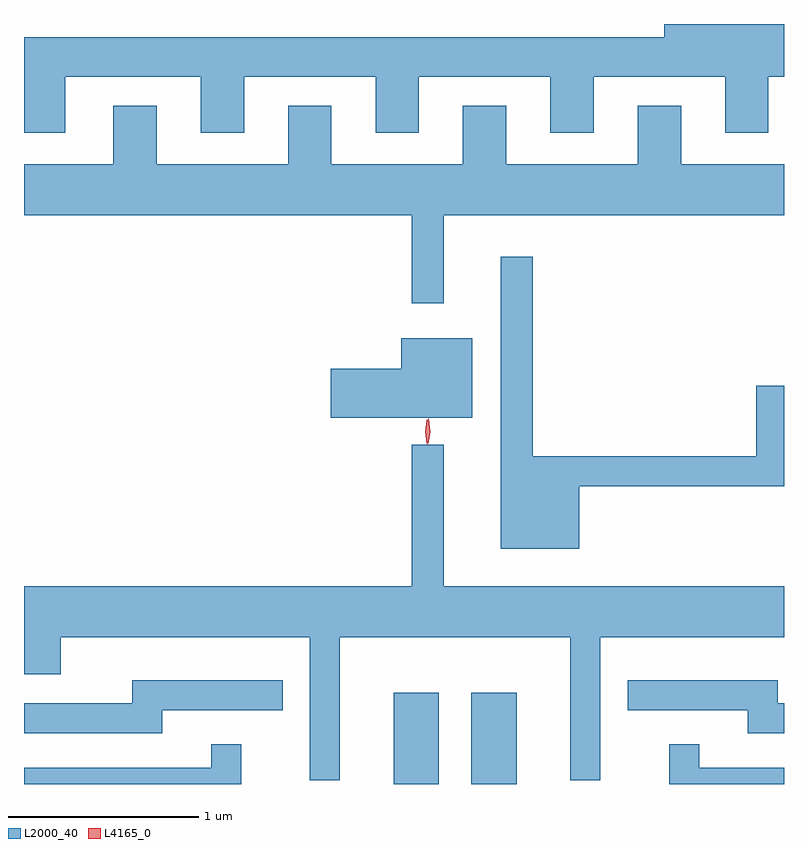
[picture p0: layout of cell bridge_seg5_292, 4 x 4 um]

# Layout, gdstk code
import gdstk
lib = gdstk.Library(unit=1e-6, precision=1e-09)
def R(c, l, rs):  # rectangles x0, y0, x1, y1
    for r in rs: c.add(gdstk.rectangle(r[:2], r[2:], *l))
def P(c, l, *ps):  # polygons
    for p in ps: c.add(gdstk.Polygon(p, *l))
L2000_40 = (2000, 40)
L4165_0 = (4165, 0)

bridge_seg5_292 = lib.new_cell('bridge_seg5_292')
R(bridge_seg5_292, L2000_40, [(671.836,1518.183,672.074,1518.664), (672.246,1518.183,672.484,1518.664)])
P(bridge_seg5_292, L2000_40, [(670.109,1521.906),(670.821,1521.906),(670.821,1521.611),(671.049,1521.611),(671.049,1521.906),(671.741,1521.906),(671.741,1521.611),(671.969,1521.611),(671.969,1521.906),(672.661,1521.906),(672.661,1521.611),(672.889,1521.611),(672.889,1521.906),(673.581,1521.906),(673.581,1521.611),(673.809,1521.611),(673.809,1521.906),(673.891,1521.906),(673.891,1522.183),(673.261,1522.183),(673.261,1522.114),(669.891,1522.114),(669.891,1521.611),(670.109,1521.611)],
  [(672.099,1521.176),(673.891,1521.176),(673.891,1521.444),(673.349,1521.444),(673.349,1521.754),(673.121,1521.754),(673.121,1521.444),(672.429,1521.444),(672.429,1521.754),(672.201,1521.754),(672.201,1521.444),(671.509,1521.444),(671.509,1521.754),(671.281,1521.754),(671.281,1521.444),(670.589,1521.444),(670.589,1521.754),(670.361,1521.754),(670.361,1521.444),(669.891,1521.444),(669.891,1521.176),(671.931,1521.176),(671.931,1520.713),(672.099,1520.713)],
  [(672.814,1519.751),(673.891,1519.751),(673.891,1520.279),(673.746,1520.279),(673.746,1519.909),(672.569,1519.909),(672.569,1520.958),(672.401,1520.958),(672.401,1519.421),(672.814,1519.421)],
  [(672.249,1520.529),(671.876,1520.529),(671.876,1520.369),(671.506,1520.369),(671.506,1520.111),(672.249,1520.111)],
  [(671.554,1518.956),(672.766,1518.956),(672.766,1518.203),(672.924,1518.203),(672.924,1518.956),(673.891,1518.956),(673.891,1519.224),(672.099,1519.224),(672.099,1519.968),(671.931,1519.968),(671.931,1519.224),(669.891,1519.224),(669.891,1518.761),(670.084,1518.761),(670.084,1518.956),(671.396,1518.956),(671.396,1518.203),(671.554,1518.203)],
  [(673.891,1518.609),(673.859,1518.609),(673.859,1518.729),(673.068,1518.729),(673.068,1518.571),(673.701,1518.571),(673.701,1518.451),(673.891,1518.451)],
  [(670.619,1518.571),(671.253,1518.571),(671.253,1518.729),(670.461,1518.729),(670.461,1518.609),(669.891,1518.609),(669.891,1518.451),(670.619,1518.451)],
  [(673.891,1518.269),(673.444,1518.269),(673.444,1518.393),(673.286,1518.393),(673.286,1518.183),(673.891,1518.183)],
  [(671.034,1518.393),(670.876,1518.393),(670.876,1518.269),(669.891,1518.269),(669.891,1518.183),(671.034,1518.183)])
P(bridge_seg5_292, L4165_0, [(672.013,1519.973),(672.012,1519.974),(672.003,1520.036),(672.012,1520.099),(672.013,1520.1),(672.013,1520.099),(672.023,1520.036),(672.013,1519.974)],
  [(672.018,1519.97),(672.018,1519.97),(672.009,1520.038),(672.019,1520.106),(672.02,1520.106),(672.02,1520.106),(672.029,1520.038),(672.019,1519.97)])

lib.write_gds('bridge_seg5_292.gds')
